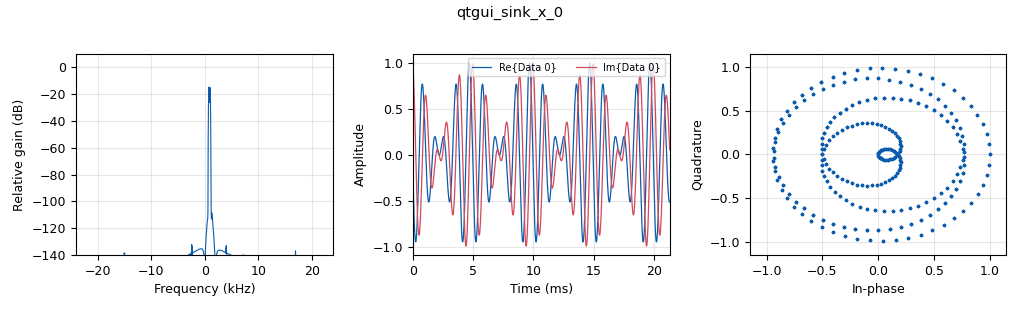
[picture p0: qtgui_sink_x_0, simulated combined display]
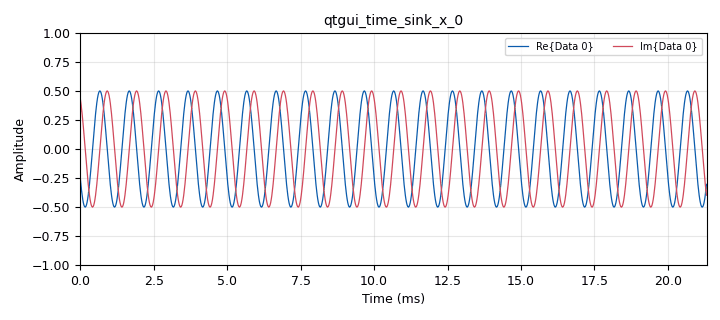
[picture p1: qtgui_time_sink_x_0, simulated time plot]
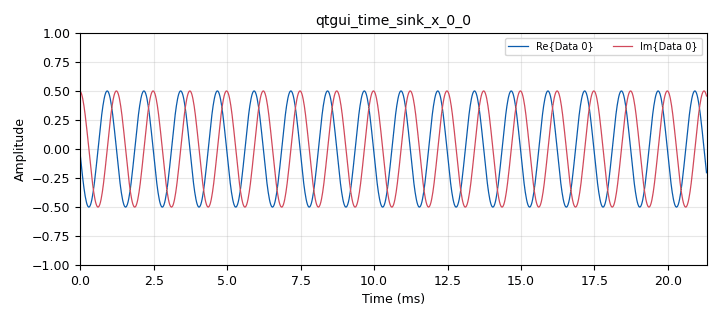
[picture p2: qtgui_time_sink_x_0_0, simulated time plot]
<?xml version='1.0' encoding='utf-8'?>
<?grc format='1' created='3.7.10'?>
<flow_graph>
<block>
<key>options</key>
<param><key>id</key><value>top_block</value></param>
<param><key>author</key><value>Alexandros-Apostolos A. Boulogeorgos</value></param>
<param><key>generate_options</key><value>qt_gui</value></param>
<param><key>title</key><value>Combination of two signal sources</value></param>
</block>
<block>
<key>variable</key>
<param><key>id</key><value>samp_rate</value></param>
<param><key>value</key><value>48000</value></param>
</block>
<block>
<key>variable_qtgui_chooser</key>
<param><key>id</key><value>waveform1</value></param>
<param><key>value</key><value>102</value></param>
<param><key>gui_hint</key><value>0,0,1,1</value></param>
<param><key>label0</key><value>Sine</value></param>
<param><key>label1</key><value>Cosine</value></param>
<param><key>label2</key><value>Rectangular</value></param>
<param><key>label3</key><value>Triangular</value></param>
<param><key>label4</key><value>Saw tooth</value></param>
<param><key>label</key><value>Waveform of signal source 1</value></param>
<param><key>num_opts</key><value>5</value></param>
<param><key>option0</key><value>101</value></param>
<param><key>option1</key><value>102</value></param>
<param><key>option2</key><value>103</value></param>
<param><key>option3</key><value>104</value></param>
<param><key>option4</key><value>105</value></param>
<param><key>type</key><value>int</value></param>
</block>
<block>
<key>variable_qtgui_chooser</key>
<param><key>id</key><value>waveform2</value></param>
<param><key>value</key><value>102</value></param>
<param><key>gui_hint</key><value>0,1,1,1</value></param>
<param><key>label0</key><value>Sine</value></param>
<param><key>label1</key><value>Cosine</value></param>
<param><key>label2</key><value>Rectangular</value></param>
<param><key>label3</key><value>Triangular</value></param>
<param><key>label4</key><value>Saw tooth</value></param>
<param><key>label</key><value>Waveform of signal source 2</value></param>
<param><key>num_opts</key><value>5</value></param>
<param><key>option0</key><value>101</value></param>
<param><key>option1</key><value>102</value></param>
<param><key>option2</key><value>103</value></param>
<param><key>option3</key><value>104</value></param>
<param><key>option4</key><value>105</value></param>
<param><key>type</key><value>int</value></param>
</block>
<block>
<key>analog_sig_source_x</key>
<param><key>id</key><value>analog_sig_source_x_0</value></param>
<param><key>amp</key><value>0.500</value></param>
<param><key>freq</key><value>1000</value></param>
<param><key>offset</key><value>0</value></param>
<param><key>type</key><value>complex</value></param>
<param><key>samp_rate</key><value>samp_rate</value></param>
<param><key>waveform</key><value>waveform1</value></param>
</block>
<block>
<key>analog_sig_source_x</key>
<param><key>id</key><value>analog_sig_source_x_0_0</value></param>
<param><key>amp</key><value>0.500</value></param>
<param><key>freq</key><value>800</value></param>
<param><key>offset</key><value>0</value></param>
<param><key>type</key><value>complex</value></param>
<param><key>samp_rate</key><value>samp_rate</value></param>
<param><key>waveform</key><value>waveform2</value></param>
</block>
<block>
<key>blocks_add_xx</key>
<param><key>id</key><value>blocks_add_xx_0</value></param>
<param><key>type</key><value>complex</value></param>
</block>
<block>
<key>blocks_throttle</key>
<param><key>id</key><value>blocks_throttle_0</value></param>
<param><key>samples_per_second</key><value>samp_rate</value></param>
<param><key>type</key><value>complex</value></param>
</block>
<block>
<key>qtgui_sink_x</key>
<param><key>id</key><value>qtgui_sink_x_0</value></param>
<param><key>bw</key><value>samp_rate</value></param>
<param><key>fc</key><value>0</value></param>
<param><key>freqchangevar</key><value>None</value></param>
<param><key>fftsize</key><value>1024</value></param>
<param><key>showports</key><value>True</value></param>
<param><key>type</key><value>complex</value></param>
<param><key>wintype</key><value>firdes.WIN_BLACKMAN_hARRIS</value></param>
</block>
<block>
<key>qtgui_time_sink_x</key>
<param><key>id</key><value>qtgui_time_sink_x_0</value></param>
<param><key>gui_hint</key><value>1,0,1,1</value></param>
<param><key>color1</key><value>"blue"</value></param>
<param><key>label1</key><value></value></param>
<param><key>color2</key><value>"red"</value></param>
<param><key>label2</key><value></value></param>
<param><key>size</key><value>1024</value></param>
<param><key>srate</key><value>samp_rate</value></param>
<param><key>type</key><value>complex</value></param>
</block>
<block>
<key>qtgui_time_sink_x</key>
<param><key>id</key><value>qtgui_time_sink_x_0_0</value></param>
<param><key>gui_hint</key><value>1,1,1,1</value></param>
<param><key>color1</key><value>"blue"</value></param>
<param><key>label1</key><value></value></param>
<param><key>color2</key><value>"red"</value></param>
<param><key>label2</key><value></value></param>
<param><key>size</key><value>1024</value></param>
<param><key>srate</key><value>samp_rate</value></param>
<param><key>type</key><value>complex</value></param>
</block>
<connection><source_block_id>analog_sig_source_x_0</source_block_id><sink_block_id>blocks_add_xx_0</sink_block_id><source_key>0</source_key><sink_key>0</sink_key></connection>
<connection><source_block_id>analog_sig_source_x_0</source_block_id><sink_block_id>qtgui_time_sink_x_0</sink_block_id><source_key>0</source_key><sink_key>0</sink_key></connection>
<connection><source_block_id>analog_sig_source_x_0_0</source_block_id><sink_block_id>blocks_add_xx_0</sink_block_id><source_key>0</source_key><sink_key>1</sink_key></connection>
<connection><source_block_id>analog_sig_source_x_0_0</source_block_id><sink_block_id>qtgui_time_sink_x_0_0</sink_block_id><source_key>0</source_key><sink_key>0</sink_key></connection>
<connection><source_block_id>blocks_add_xx_0</source_block_id><sink_block_id>blocks_throttle_0</sink_block_id><source_key>0</source_key><sink_key>0</sink_key></connection>
<connection><source_block_id>blocks_throttle_0</source_block_id><sink_block_id>qtgui_sink_x_0</sink_block_id><source_key>0</source_key><sink_key>0</sink_key></connection>
</flow_graph>
